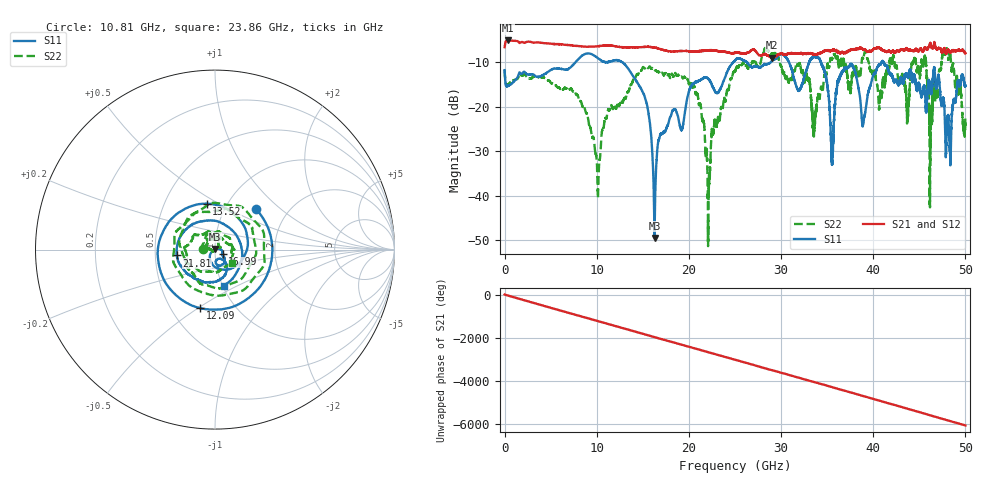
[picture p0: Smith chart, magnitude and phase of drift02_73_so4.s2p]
!Created with skrf (http://scikit-rf.org).
# Hz S RI R 50.0
!freq ReS11 ImS11 ReS21 ImS21 ReS12 ImS12 ReS22 ImS22
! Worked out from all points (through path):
!   10001 points, 300 kHz to 50 GHz, reference 50 ohm
!   highest |S21| = -5.04 dB at 325.3 MHz (marker M1); lowest = -8.9 dB at 28.98 GHz (marker M2)
!   group delay of S21, straight-line fit = 336 ps
!   lowest |S11| = -49.5 dB at 16.27 GHz (marker M3), VSWR 1.01, Z = 49.9 + j0.316 ohm
!   |S11| at or under -10 dB: start of sweep to 7.671 GHz; 12.82 GHz to 24.79 GHz (11.98 GHz wide, 63.7 % of centre); 41.14 GHz to end of sweep (the widest 3 of 12)
!   |S22| runs from -51.4 to -6.6 dB; largest |S21 - S12| = 0.029
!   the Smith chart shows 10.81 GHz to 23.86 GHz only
!   S11 on the Smith chart (normalised r, x): 10.81 GHz: 1.38, +0.70; 12.09 GHz: 0.69, -0.51; 13.52 GHz: 0.80, +0.44; 16.99 GHz: 1.09, -0.06; 21.81 GHz: 0.65, -0.04; 23.86 GHz: 1.01, -0.42
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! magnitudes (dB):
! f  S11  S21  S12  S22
! 300 kHz  -11.7  -6.6  -6.5  -11.7
! 325.3 MHz  -15.3  -5.0  -5.0  -15.1
! 8.335 GHz  -8.6  -6.4  -6.4  -19.1
! 10.11 GHz  -9.0  -6.3  -6.3  -38.7
! 10.81 GHz  -9.9  -6.2  -6.2  -23.6
! 12.09 GHz  -9.5  -6.4  -6.4  -20.4
! 13.52 GHz  -11.7  -6.6  -6.6  -16.1
! 16.27 GHz  -49.5  -6.6  -6.6  -11.7
! 16.67 GHz  -27.8  -6.8  -6.8  -12.1
! 16.99 GHz  -26.0  -7.1  -7.0  -12.5
! 21.81 GHz  -13.3  -7.4  -7.3  -30.2
! 23.86 GHz  -13.7  -7.6  -7.6  -18.1
! 25 GHz  -9.5  -7.8  -7.8  -12.0
! 28.98 GHz  -9.8  -8.9  -8.9  -8.0
! 33.34 GHz  -9.1  -8.0  -8.0  -19.9
! 35.55 GHz  -30.9  -7.2  -7.2  -9.1
! 36.81 GHz  -11.7  -7.9  -7.8  -9.9
! 41.67 GHz  -11.9  -7.4  -7.5  -11.6
! 45.5 GHz  -15.4  -6.9  -6.9  -9.6
! 46.25 GHz  -17.0  -6.1  -6.1  -21.6
! 48.13 GHz  -21.8  -7.2  -7.1  -9.4
! 50 GHz  -15.3  -7.9  -7.9  -23.1
